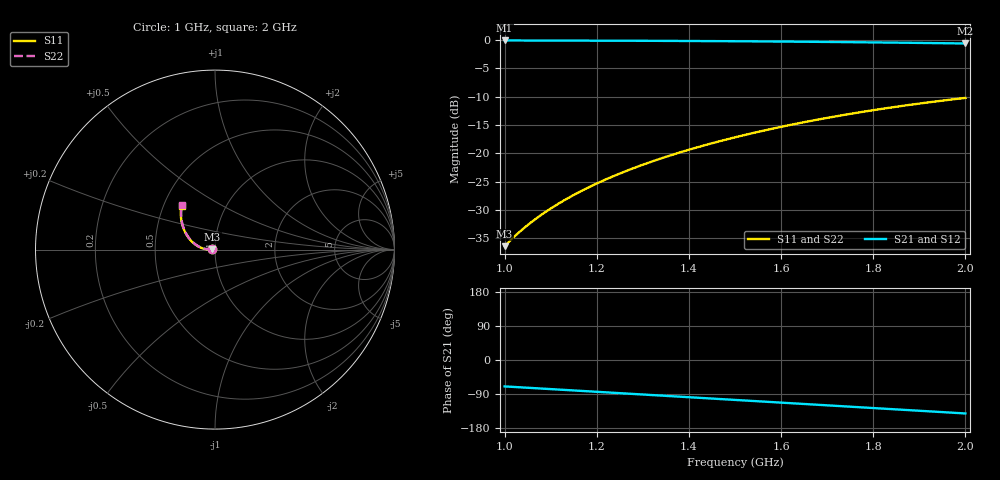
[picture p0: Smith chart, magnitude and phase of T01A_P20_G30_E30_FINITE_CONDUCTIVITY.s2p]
! T01-A finite-conductivity nominal export
# GHZ S RI R 50
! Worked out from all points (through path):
!   1001 points, 1 GHz to 2 GHz, reference 50 ohm
!   highest |S21| = -0.11 dB at 1 GHz (marker M1); lowest = -0.6 dB at 2 GHz (marker M2)
!   group delay of S21, straight-line fit = 199 ps
!   lowest |S11| = -36.4 dB at 1 GHz (marker M3), VSWR 1.03, Z = 48.5 + j0.197 ohm
!   |S11| at or under -10 dB: start of sweep to end of sweep
!   |S22| runs from -36.2 to -10.2 dB; largest |S21 - S12| = 9.4e-06
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1  -0.0151 0.00203  0.343 -0.9258  0.343 -0.9258  -0.0153 0.00256
1.004  -0.0157 0.00191  0.3384 -0.9274  0.3384 -0.9274  -0.0159 0.00244
1.023  -0.0187 0.00139  0.3165 -0.9348  0.3165 -0.9348  -0.0189 0.00195
1.041  -0.0217 0.000993  0.2956 -0.9413  0.2956 -0.9413  -0.0219 0.00158
1.059  -0.0249 0.000693  0.2745 -0.9473  0.2745 -0.9473  -0.0251 0.0013
1.077  -0.0282 0.000502  0.2533 -0.9529  0.2533 -0.9529  -0.0284 0.00113
1.098  -0.0322 0.000428  0.2284 -0.9588  0.2284 -0.9588  -0.0324 0.00109
1.12  -0.0366 0.000538  0.202 -0.9643  0.2021 -0.9643  -0.0368 0.00123
1.143  -0.0415 0.000875  0.1744 -0.9692  0.1744 -0.9692  -0.0416 0.00161
1.167  -0.0467 0.00149  0.1453 -0.9735  0.1453 -0.9735  -0.0468 0.00226
1.205  -0.0553 0.00305  0.0991 -0.9784  0.0991 -0.9784  -0.0554 0.00388
1.245  -0.0649 0.00556  0.0501 -0.981  0.0501 -0.9811  -0.0649 0.00644
1.288  -0.0756 0.00932  -0.0026 -0.9811  -0.00259 -0.9811  -0.0756 0.0103
1.334  -0.0874 0.0147  -0.0589 -0.9777  -0.0589 -0.9777  -0.0873 0.0157
1.413  -0.1081 0.0272  -0.1549 -0.964  -0.1549 -0.964  -0.1079 0.0284
1.5  -0.1304 0.0463  -0.258 -0.9371  -0.258 -0.9371  -0.13 0.0476
1.582  -0.1499 0.0694  -0.3513 -0.9009  -0.3513 -0.9009  -0.1493 0.0708
1.667  -0.1672 0.0983  -0.4425 -0.8529  -0.4425 -0.8529  -0.1664 0.0998
1.748  -0.1799 0.1301  -0.523 -0.7981  -0.523 -0.7981  -0.1788 0.1316
1.834  -0.1881 0.1674  -0.6003 -0.7314  -0.6003 -0.7314  -0.1868 0.1689
1.921  -0.1902 0.2077  -0.669 -0.6565  -0.669 -0.6565  -0.1886 0.2092
2  -0.1862 0.2452  -0.7226 -0.5832  -0.7226 -0.5832  -0.1843 0.2466
